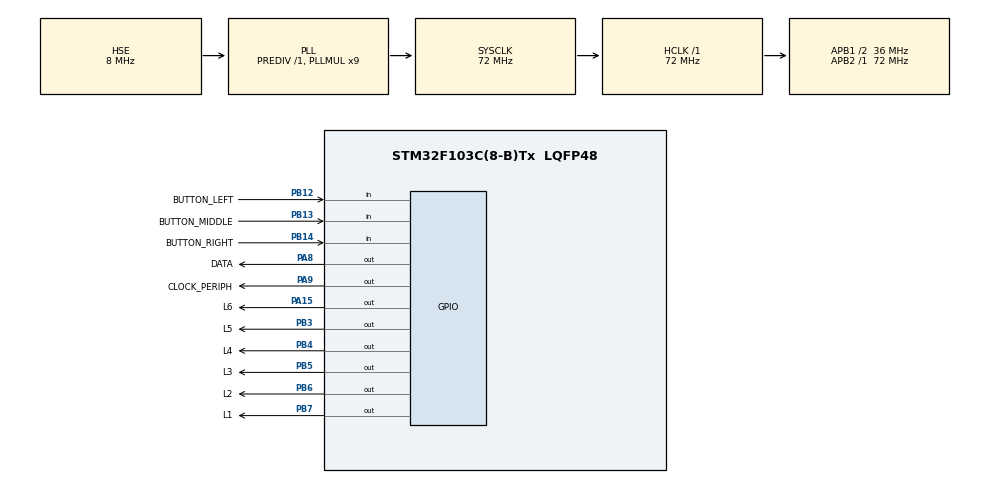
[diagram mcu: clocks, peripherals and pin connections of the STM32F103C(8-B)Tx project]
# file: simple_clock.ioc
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Mcu.Family=STM32F1
Mcu.Name=STM32F103C(8-B)Tx
Mcu.Package=LQFP48
NVIC.PriorityGroup=NVIC_PRIORITYGROUP_4
NVIC.TIM2_IRQn=true\:0\:0\:false\:false\:true\:true\:true\:true
NVIC.TIM4_IRQn=true\:0\:0\:false\:false\:true\:true\:true\:true
PA13.Mode=Serial_Wire
PA13.Signal=SYS_JTMS-SWDIO
PA14.Mode=Serial_Wire
PA14.Signal=SYS_JTCK-SWCLK
PA15.GPIO_Label=L6
PA15.GPIO_ModeDefaultOutputPP=GPIO_MODE_OUTPUT_PP
PA15.GPIO_PuPd=GPIO_NOPULL
PA15.GPIO_Speed=GPIO_SPEED_FREQ_HIGH
PA15.PinState=GPIO_PIN_RESET
PA15.Signal=GPIO_Output
PA8.GPIO_Label=DATA
PA8.GPIO_PuPd=GPIO_PULLDOWN
PA8.GPIO_Speed=GPIO_SPEED_FREQ_LOW
PA8.PinState=GPIO_PIN_RESET
PA8.Signal=GPIO_Output
PA9.GPIO_Label=CLOCK_PERIPH
PA9.GPIO_PuPd=GPIO_PULLDOWN
PA9.Signal=GPIO_Output
PB12.GPIO_Label=BUTTON_LEFT
PB12.GPIO_PuPd=GPIO_PULLUP
PB12.Signal=GPIO_Input
PB13.GPIO_Label=BUTTON_MIDDLE
PB13.GPIO_PuPd=GPIO_PULLUP
PB13.Signal=GPIO_Input
PB14.GPIO_Label=BUTTON_RIGHT
PB14.GPIO_PuPd=GPIO_PULLUP
PB14.Signal=GPIO_Input
PB3.GPIO_Label=L5
PB3.GPIO_Speed=GPIO_SPEED_FREQ_HIGH
PB3.PinState=GPIO_PIN_RESET
PB3.Signal=GPIO_Output
PB4.GPIO_Label=L4
PB4.GPIO_Speed=GPIO_SPEED_FREQ_HIGH
PB4.PinState=GPIO_PIN_RESET
PB4.Signal=GPIO_Output
PB5.GPIO_Label=L3
PB5.GPIO_Speed=GPIO_SPEED_FREQ_HIGH
PB5.PinState=GPIO_PIN_RESET
PB5.Signal=GPIO_Output
PB6.GPIO_Label=L2
PB6.GPIO_Speed=GPIO_SPEED_FREQ_HIGH
PB6.PinState=GPIO_PIN_RESET
PB6.Signal=GPIO_Output
PB7.GPIO_Label=L1
PB7.GPIO_Speed=GPIO_SPEED_FREQ_HIGH
PB7.PinState=GPIO_PIN_RESET
PB7.Signal=GPIO_Output
PD0-OSC_IN.Mode=HSE-External-Oscillator
PD0-OSC_IN.Signal=RCC_OSC_IN
PD1-OSC_OUT.Mode=HSE-External-Oscillator
PD1-OSC_OUT.Signal=RCC_OSC_OUT
ProjectManager.HeapSize=0x700
ProjectManager.StackSize=0x200
ProjectManager.TargetToolchain=STM32CubeIDE
RCC.ADCPresc=RCC_ADCPCLK2_DIV6
RCC.AHBFreq_Value=72000000
RCC.APB1CLKDivider=RCC_HCLK_DIV2
RCC.APB1Freq_Value=36000000
RCC.APB1TimFreq_Value=72000000
RCC.APB2Freq_Value=72000000
RCC.APB2TimFreq_Value=72000000
RCC.HCLKFreq_Value=72000000
RCC.PLLMUL=RCC_PLL_MUL9
RCC.PLLSourceVirtual=RCC_PLLSOURCE_HSE
RCC.SYSCLKFreq_VALUE=72000000
RCC.SYSCLKSource=RCC_SYSCLKSOURCE_PLLCLK
RCC.USBFreq_Value=48000000
RCC.USBPrescaler=RCC_USBCLKSOURCE_PLL_DIV1_5
TIM2.Period=8000-1
TIM2.Prescaler=25-1
TIM4.Period=1000-1
TIM4.Prescaler=72-1
VP_RTC_VS_RTC_Activate.Mode=RTC_Enabled
VP_RTC_VS_RTC_Calendar.Mode=RTC_Calendar
VP_TIM2_VS_ClockSourceINT.Mode=Internal
VP_TIM4_VS_ClockSourceINT.Mode=Internal
board=custom

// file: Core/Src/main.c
/* USER CODE BEGIN Header */
/**
  ******************************************************************************
  * @file           : main.c
  * @brief          : Main program body
  ******************************************************************************
  * @attention
  *
  * Copyright (c) 2024 STMicroelectronics.
  * All rights reserved.
  *
  * This software is licensed under terms that can be found in the LICENSE file
  * in the root directory of this software component.
  * If no LICENSE file comes with this software, it is provided AS-IS.
  *
  ******************************************************************************
  */
/* USER CODE END Header */
#include "main.h"
#include "rtc.h"
#include "tim.h"
#include "gpio.h"

/* USER CODE BEGIN Includes */
#include "Clock.cpp"
#include "Menu.cpp"
#include "button.h"
/* USER CODE END Includes */

/* USER CODE BEGIN PV */
int screenChoose		= 0;
int unitChoose 			= 0;
bool isSettingsOn 		= 0;
bool isPowerOn			= 1;
bool veryLongPressFlag 	= 0;
int settingsFlag 		= 0;
int interruptSource;
extern RTC_HandleTypeDef hrtc;
/* USER CODE END PV */

void SystemClock_Config(void);

int main(void)
{

  /* MCU Configuration--------------------------------------------------------*/

  /* Reset of all peripherals, Initializes the Flash interface and the Systick. */
  HAL_Init();

  /* Configure the system clock */
  SystemClock_Config();

  /* Initialize all configured peripherals */
  MX_GPIO_Init();
  MX_RTC_Init();
  MX_TIM2_Init();
  MX_TIM4_Init();
  /* USER CODE BEGIN 2 */

  HAL_TIM_Base_Start_IT(&htim2);
  HAL_TIM_Base_Start_IT(&htim4);

  HAL_GPIO_WritePin(L1_GPIO_Port, L1_Pin, RESET);
  HAL_GPIO_WritePin(L2_GPIO_Port, L2_Pin, RESET);
  HAL_GPIO_WritePin(L3_GPIO_Port, L3_Pin, RESET);
  HAL_GPIO_WritePin(L4_GPIO_Port, L4_Pin, RESET);
  HAL_GPIO_WritePin(L5_GPIO_Port, L5_Pin, RESET);
  HAL_GPIO_WritePin(L6_GPIO_Port, L6_Pin, RESET);
  HAL_GPIO_WritePin(CLOCK_PERIPH_GPIO_Port, CLOCK_PERIPH_Pin, RESET);
  HAL_GPIO_WritePin(DATA_GPIO_Port, DATA_Pin, RESET);

  clockStart();
  /* USER CODE END 2 */

  /* Infinite loop */
  /* USER CODE BEGIN WHILE */
  while (1)
  {
	  if (settingsFlag == 0)
	  {
		  isSettingsOn = 0;
		  unitChoose = 0;
	  }
	  BUTTON_Process();

	  if (BUTTON_GetAction(BUTTON_MIDDLE) == BUTTON_VERY_LONG_PRESS && !veryLongPressFlag)
	  {
		  isPowerOn = !isPowerOn;
		  isSettingsOn = 0;
		  unitChoose = 0;
		  veryLongPressFlag = 1;
	  }
	  else if (BUTTON_GetAction(BUTTON_MIDDLE) != BUTTON_VERY_LONG_PRESS)
	  {
		  veryLongPressFlag = 0;
	  }

	  if (isPowerOn)
	  {
		  if(BUTTON_GetAction(BUTTON_LEFT) == BUTTON_SHORT_PRESS)
		  {
			  interruptSource = BUTTON_LEFT_Pin;
			  if (isSettingsOn) settings();
			  else screenChange();
		  }

		  if(BUTTON_GetAction(BUTTON_LEFT) == BUTTON_LONG_PRESS)
		  {
			  interruptSource = BUTTON_LEFT_Pin;
			  if (isSettingsOn)
			  {
				  settings();
				  HAL_Delay(300);
			  }
		  }

		  if(BUTTON_GetAction(BUTTON_LEFT) == BUTTON_VERY_LONG_PRESS)
		  {
			  interruptSource = BUTTON_LEFT_Pin;
			  if (isSettingsOn)
			  {
				  settings();
				  HAL_Delay(100);
			  }
		  }

		  if (BUTTON_GetAction(BUTTON_MIDDLE) == BUTTON_SHORT_PRESS)
		  {
				  isSettingsOn = 1;
				  settingsFlag = 5;
				  unitChoose--;
				  unitChoose = unitChoose <= -1 ? 2 : unitChoose;
		  }

		  if(BUTTON_GetAction(BUTTON_RIGHT) == BUTTON_SHORT_PRESS)
		  {
			  interruptSource = BUTTON_RIGHT_Pin;
			  if (isSettingsOn) settings();
			  else screenChange();
		  }

		  if(BUTTON_GetAction(BUTTON_RIGHT) == BUTTON_LONG_PRESS)
		  {
			  interruptSource = BUTTON_RIGHT_Pin;
			  if (isSettingsOn)
			  {
				  settings();
				  HAL_Delay(300);
			  }
		  }

		  if(BUTTON_GetAction(BUTTON_RIGHT) == BUTTON_VERY_LONG_PRESS)
		  {
			  interruptSource = BUTTON_RIGHT_Pin;
			  if (isSettingsOn)
			  {
				  settings();
				  HAL_Delay(100);
			  }
		  }
	  }
	  BUTTON_ResetActions();
    /* USER CODE END WHILE */

  }
}

void SystemClock_Config(void)
{
  RCC_OscInitTypeDef RCC_OscInitStruct = {0};
  RCC_ClkInitTypeDef RCC_ClkInitStruct = {0};
  RCC_PeriphCLKInitTypeDef PeriphClkInit = {0};

  /** Initializes the RCC Oscillators according to the specified parameters
  * in the RCC_OscInitTypeDef structure.
  */
  RCC_OscInitStruct.OscillatorType = RCC_OSCILLATORTYPE_HSE|RCC_OSCILLATORTYPE_LSE;
  RCC_OscInitStruct.HSEState = RCC_HSE_ON;
  RCC_OscInitStruct.HSEPredivValue = RCC_HSE_PREDIV_DIV1;
  RCC_OscInitStruct.LSEState = RCC_LSE_ON;
  RCC_OscInitStruct.HSIState = RCC_HSI_ON;
  RCC_OscInitStruct.PLL.PLLState = RCC_PLL_ON;
  RCC_OscInitStruct.PLL.PLLSource = RCC_PLLSOURCE_HSE;
  RCC_OscInitStruct.PLL.PLLMUL = RCC_PLL_MUL9;
  if (HAL_RCC_OscConfig(&RCC_OscInitStruct) != HAL_OK)
  {
    Error_Handler();
  }

  /** Initializes the CPU, AHB and APB buses clocks
  */
  RCC_ClkInitStruct.ClockType = RCC_CLOCKTYPE_HCLK|RCC_CLOCKTYPE_SYSCLK
                              |RCC_CLOCKTYPE_PCLK1|RCC_CLOCKTYPE_PCLK2;
  RCC_ClkInitStruct.SYSCLKSource = RCC_SYSCLKSOURCE_PLLCLK;
  RCC_ClkInitStruct.AHBCLKDivider = RCC_SYSCLK_DIV1;
  RCC_ClkInitStruct.APB1CLKDivider = RCC_HCLK_DIV2;
  RCC_ClkInitStruct.APB2CLKDivider = RCC_HCLK_DIV1;

  if (HAL_RCC_ClockConfig(&RCC_ClkInitStruct, FLASH_LATENCY_2) != HAL_OK)
  {
    Error_Handler();
  }
  PeriphClkInit.PeriphClockSelection = RCC_PERIPHCLK_RTC;
  PeriphClkInit.RTCClockSelection = RCC_RTCCLKSOURCE_LSE;
  if (HAL_RCCEx_PeriphCLKConfig(&PeriphClkInit) != HAL_OK)
  {
    Error_Handler();
  }
}

/* USER CODE BEGIN 4 */
void HAL_TIM_PeriodElapsedCallback(TIM_HandleTypeDef *htim)
{
  // Check which version of the timer triggered this callback and toggle LED
  if (htim == &htim2)
  {
    clockControl();
  }
  if (htim == &htim4)
  {
	BUTTON_TimerProcess();
  }
}

/* USER CODE END 4 */

void Error_Handler(void)
{
  __disable_irq();
  while (1)
  {
  }
}
